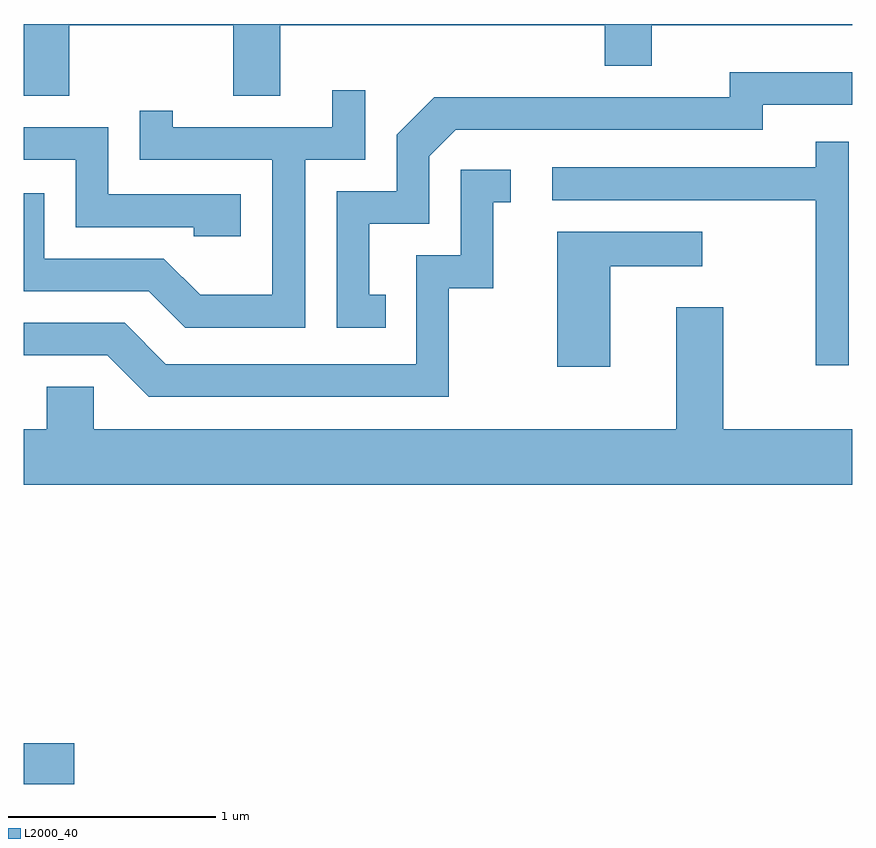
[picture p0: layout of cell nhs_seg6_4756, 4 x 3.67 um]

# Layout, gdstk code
import gdstk
lib = gdstk.Library(unit=1e-6, precision=1e-09)
def R(c, l, rs):  # rectangles x0, y0, x1, y1
    for r in rs: c.add(gdstk.rectangle(r[:2], r[2:], *l))
def P(c, l, *ps):  # polygons
    for p in ps: c.add(gdstk.Polygon(p, *l))
L2000_40 = (2000, 40)

nhs_seg6_4756 = lib.new_cell('nhs_seg6_4756')
R(nhs_seg6_4756, L2000_40, [(329.611,1648.491,329.854,1648.689)])
P(nhs_seg6_4756, L2000_40, [(329.829,1652.156),(330.621,1652.156),(330.621,1651.816),(330.849,1651.816),(330.849,1652.156),(332.416,1652.156),(332.416,1651.961),(332.644,1651.961),(332.644,1652.156),(333.611,1652.156),(333.611,1652.162),(329.611,1652.162),(329.611,1651.816),(329.829,1651.816)],
  [(331.358,1650.854),(331.279,1650.854),(331.279,1651.196),(331.569,1651.196),(331.569,1651.524),(331.697,1651.651),(333.179,1651.651),(333.179,1651.771),(333.611,1651.771),(333.611,1651.929),(333.021,1651.929),(333.021,1651.809),(331.594,1651.809),(331.411,1651.627),(331.411,1651.354),(331.121,1651.354),(331.121,1650.696),(331.358,1650.696)],
  [(330.969,1651.506),(331.259,1651.506),(331.259,1651.843),(331.101,1651.843),(331.101,1651.664),(330.329,1651.664),(330.329,1651.743),(330.171,1651.743),(330.171,1651.506),(330.811,1651.506),(330.811,1650.854),(330.462,1650.854),(330.287,1651.029),(329.709,1651.029),(329.709,1651.344),(329.611,1651.344),(329.611,1650.871),(330.214,1650.871),(330.389,1650.696),(330.969,1650.696)],
  [(330.659,1651.339),(330.019,1651.339),(330.019,1651.664),(329.611,1651.664),(329.611,1651.506),(329.861,1651.506),(329.861,1651.181),(330.431,1651.181),(330.431,1651.136),(330.659,1651.136)],
  [(333.594,1651.593),(333.436,1651.593),(333.436,1651.469),(332.163,1651.469),(332.163,1651.311),(333.436,1651.311),(333.436,1650.513),(333.594,1650.513)],
  [(331.664,1650.886),(331.879,1650.886),(331.879,1651.301),(331.963,1651.301),(331.963,1651.459),(331.721,1651.459),(331.721,1651.044),(331.506,1651.044),(331.506,1650.519),(330.297,1650.519),(330.097,1650.719),(329.611,1650.719),(329.611,1650.561),(330.014,1650.561),(330.214,1650.361),(331.664,1650.361)],
  [(332.444,1650.991),(332.888,1650.991),(332.888,1651.159),(332.186,1651.159),(332.186,1650.506),(332.444,1650.506)],
  [(333.611,1650.204),(332.989,1650.204),(332.989,1650.794),(332.761,1650.794),(332.761,1650.204),(329.949,1650.204),(329.949,1650.409),(329.721,1650.409),(329.721,1650.204),(329.611,1650.204),(329.611,1649.936),(333.611,1649.936)])

lib.write_gds('nhs_seg6_4756.gds')
